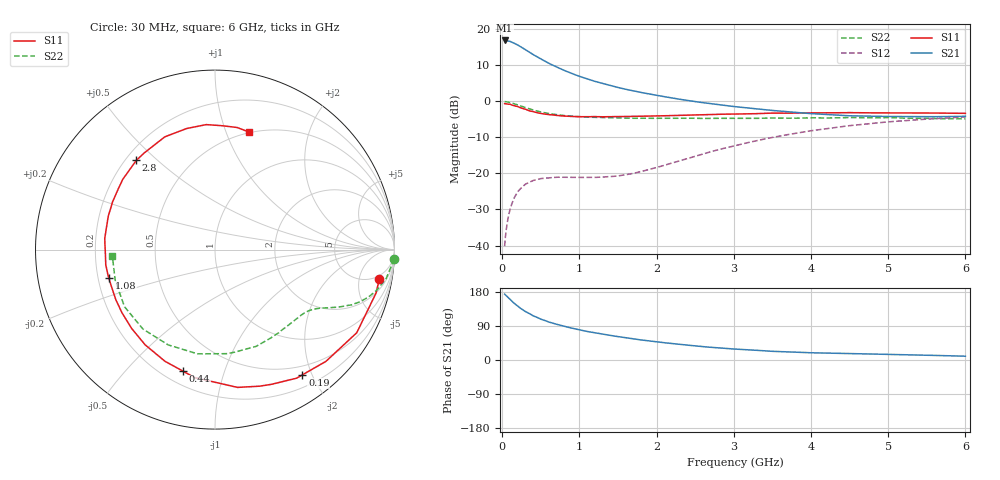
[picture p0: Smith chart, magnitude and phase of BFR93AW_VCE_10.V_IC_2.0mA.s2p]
! Infineon Technologies  Discrete & RF Semiconductors
! BFR93AW
! VCE =  10. V,  IC =  2.0 mA
! Common Emitter S-Parameters:  Nov 2015
# GHz  S  MA  R  50
!  f  S11  S21  S12  S22
! GHz  MAG  ANG  MAG  ANG  MAG  ANG  MAG  ANG
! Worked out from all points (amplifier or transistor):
!   206 points, 30 MHz to 6 GHz, reference 50 ohm
!   highest |S21| = 16.9 dB at 30 MHz (marker M1)
!   |S21| within 3 dB of that: start of sweep to 332.1 MHz
!   unconditionally stable (mu >= 1): 1.229 GHz to 2.253 GHz
!   at 200 MHz: K = 0.16, MSG = 20.4 dB, |S12| = -25.1 dB
!   at 1.56 GHz: K = 1.15, MAG = 9.7 dB, |S12| = -20.5 dB
!   at 6 GHz: K = 0.98, MSG = 0.1 dB, |S12| = -4.3 dB
!   S11 on the Smith chart (normalised r, x): 30 MHz: 4, -10; 190 MHz: 0.37, -1.86; 440 MHz: 0.28, -0.73; 1.08 GHz: 0.24, -0.12; 2.8 GHz: 0.24, +0.43; 6 GHz: 0.49, +1.21
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0.03  0.9305 -10.1  6.999 173.9  0.0098 81.9  0.996 -3.0
0.06  0.9213 -18.2  6.912 167.8  0.0194 77.8  0.9835 -5.9
0.1  0.9155 -30.4  6.801 159.9  0.0317 73.6  0.967 -9.7
0.15  0.8774 -45.2  6.451 150.3  0.0449 65.6  0.9317 -13.8
0.19  0.8509 -55.1  6.121 143.7  0.0536 60.9  0.9022 -16.5
0.24  0.8138 -67.3  5.701 135.9  0.0622 55.4  0.8632 -19.4
0.3  0.778 -80.7  5.217 127.8  0.071 49.5  0.8195 -22.1
0.4  0.722 -99.0  4.46 116.6  0.0799 43.0  0.7581 -25.0
0.44  0.7002 -104.8  4.214 113.4  0.0818 41.1  0.7393 -25.8
0.5  0.6819 -114.1  3.876 107.7  0.0849 38.4  0.7114 -27.1
0.6  0.6579 -126.3  3.381 100.4  0.0868 36.0  0.6786 -28.6
0.7  0.6393 -136.6  3.009 94.4  0.0886 34.6  0.6553 -30.1
0.82  0.6241 -147.4  2.64 87.9  0.0888 34.4  0.6329 -32.1
1.04  0.6121 -162.8  2.153 77.9  0.0881 36.9  0.6096 -35.6
1.08  0.6124 -165.1  2.084 76.2  0.0882 37.6  0.606 -36.5
1.5  0.6174 174.1  1.557 61.6  0.0924 51.1  0.5885 -44.9
2.02  0.6299 154.4  1.202 47.3  0.1228 67.3  0.5823 -57.6
2.8  0.663 131.4  0.904 31.9  0.2138 74.4  0.5821 -78.5
3.1  0.6691 123.6  0.827 27.9  0.2554 72.5  0.5809 -86.9
4.1  0.6925 101.4  0.667 18.7  0.4045 60.1  0.5891 -119.4
5.1  0.6905 85.1  0.616 14.4  0.5287 44.0  0.5901 -150.6
6  0.6819 73.9  0.62 10.0  0.6089 30.5  0.573 -176.4
